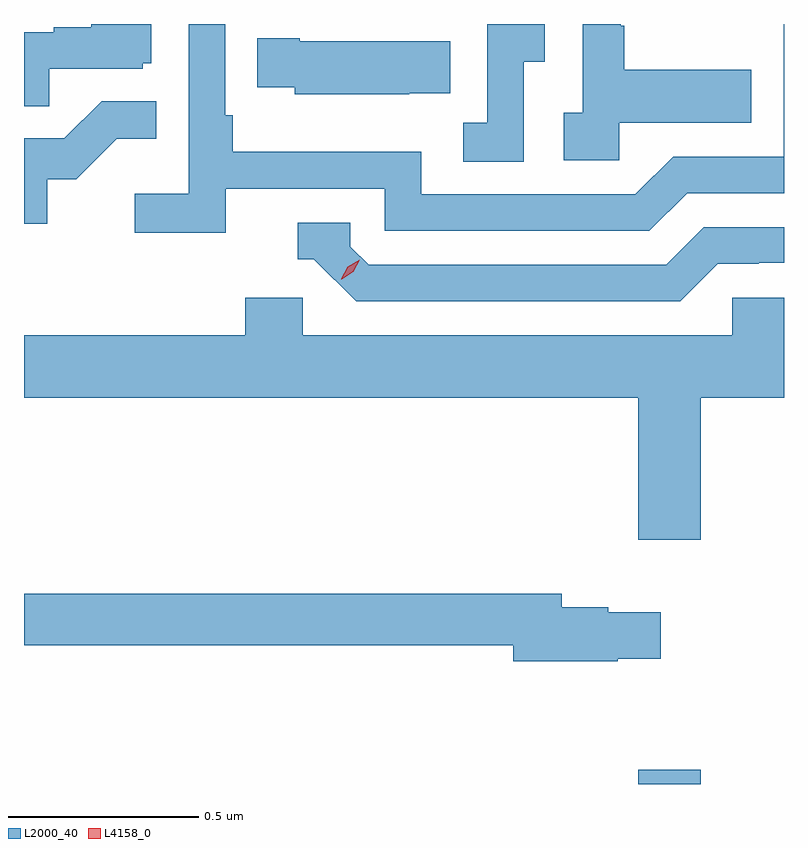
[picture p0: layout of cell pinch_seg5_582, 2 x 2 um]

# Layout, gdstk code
import gdstk
lib = gdstk.Library(unit=1e-6, precision=1e-09)
def R(c, l, rs):  # rectangles x0, y0, x1, y1
    for r in rs: c.add(gdstk.rectangle(r[:2], r[2:], *l))
def P(c, l, *ps):  # polygons
    for p in ps: c.add(gdstk.Polygon(p, *l))
L2000_40 = (2000, 40)
L4158_0 = (4158, 0)

pinch_seg5_582 = lib.new_cell('pinch_seg5_582')
R(pinch_seg5_582, L2000_40, [(1136.036,867.731,1136.2,867.769)])
P(pinch_seg5_582, L2000_40, [(1135.986,869.471),(1136.333,869.471),(1136.333,869.611),(1135.999,869.611),(1135.999,869.726),(1135.989,869.726),(1135.989,869.731),(1135.89,869.731),(1135.89,869.498),(1135.839,869.498),(1135.839,869.373),(1135.986,869.373)],
  [(1135.734,869.632),(1135.789,869.632),(1135.789,869.731),(1135.638,869.731),(1135.638,869.471),(1135.575,869.471),(1135.575,869.368),(1135.734,869.368)],
  [(1134.95,869.298),(1135.368,869.298),(1135.368,869.187),(1136.065,869.187),(1136.164,869.286),(1136.419,869.286),(1136.419,869.731),(1136.418,869.731),(1136.418,869.382),(1136.127,869.382),(1136.028,869.283),(1135.464,869.283),(1135.464,869.395),(1134.968,869.395),(1134.968,869.491),(1134.948,869.491),(1134.948,869.731),(1134.852,869.731),(1134.852,869.284),(1134.711,869.284),(1134.711,869.182),(1134.95,869.182)],
  [(1134.485,869.613),(1134.732,869.613),(1134.732,869.628),(1134.754,869.628),(1134.754,869.731),(1134.596,869.731),(1134.596,869.722),(1134.497,869.722),(1134.497,869.709),(1134.419,869.709),(1134.419,869.515),(1134.485,869.515)],
  [(1135.433,869.549),(1135.541,869.549),(1135.541,869.686),(1135.144,869.686),(1135.144,869.694),(1135.033,869.694),(1135.033,869.564),(1135.131,869.564),(1135.131,869.546),(1135.433,869.546)],
  [(1134.48,869.322),(1134.556,869.322),(1134.663,869.429),(1134.767,869.429),(1134.767,869.528),(1134.623,869.528),(1134.525,869.43),(1134.419,869.43),(1134.419,869.205),(1134.48,869.205)],
  [(1136.245,869.1),(1136.352,869.1),(1136.352,869.103),(1136.419,869.103),(1136.419,869.196),(1136.208,869.196),(1136.109,869.097),(1135.326,869.097),(1135.278,869.145),(1135.278,869.208),(1135.139,869.208),(1135.139,869.112),(1135.182,869.112),(1135.293,869.001),(1136.146,869.001)],
  [(1136.2,868.748),(1136.419,868.748),(1136.419,869.01),(1136.283,869.01),(1136.283,868.912),(1135.152,868.912),(1135.152,869.01),(1135.001,869.01),(1135.001,868.912),(1134.419,868.912),(1134.419,868.748),(1136.036,868.748),(1136.036,868.374),(1136.2,868.374)],
  [(1135.982,868.061),(1136.095,868.061),(1136.095,868.183),(1135.956,868.183),(1135.956,868.196),(1135.834,868.196),(1135.834,868.232),(1134.419,868.232),(1134.419,868.096),(1135.706,868.096),(1135.706,868.054),(1135.982,868.054)])
P(pinch_seg5_582, L4158_0, [(1135.254,869.059),(1135.254,869.06),(1135.271,869.092),(1135.302,869.111),(1135.302,869.111),(1135.302,869.111),(1135.285,869.079),(1135.255,869.059)])

lib.write_gds('pinch_seg5_582.gds')
